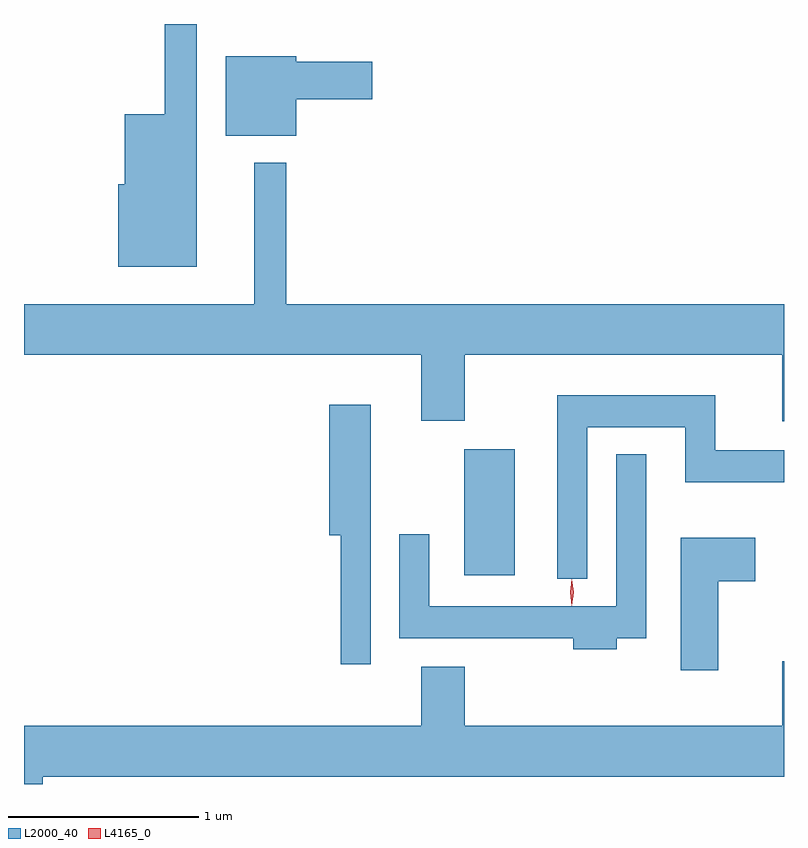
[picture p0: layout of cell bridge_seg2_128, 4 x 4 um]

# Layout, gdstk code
import gdstk
lib = gdstk.Library(unit=1e-6, precision=1e-09)
def R(c, l, rs):  # rectangles x0, y0, x1, y1
    for r in rs: c.add(gdstk.rectangle(r[:2], r[2:], *l))
def P(c, l, *ps):  # polygons
    for p in ps: c.add(gdstk.Polygon(p, *l))
L2000_40 = (2000, 40)
L4165_0 = (4165, 0)

bridge_seg2_128 = lib.new_cell('bridge_seg2_128')
R(bridge_seg2_128, L2000_40, [(979.686,1056.036,979.954,1056.699)])
P(bridge_seg2_128, L2000_40, [(978.279,1058.938),(978.111,1058.938),(978.111,1058.464),(977.901,1058.464),(977.901,1058.094),(977.866,1058.094),(977.866,1057.661),(978.279,1057.661)],
  [(978.804,1058.541),(979.204,1058.541),(979.204,1058.739),(978.804,1058.739),(978.804,1058.769),(978.431,1058.769),(978.431,1058.351),(978.804,1058.351)],
  [(981.37,1057.464),(978.749,1057.464),(978.749,1058.208),(978.581,1058.208),(978.581,1057.464),(977.37,1057.464),(977.37,1057.196),(979.461,1057.196),(979.461,1056.851),(979.689,1056.851),(979.689,1057.196),(981.361,1057.196),(981.361,1056.846),(981.37,1056.846)],
  [(980.334,1056.816),(980.851,1056.816),(980.851,1056.526),(981.37,1056.526),(981.37,1056.694),(981.009,1056.694),(981.009,1056.984),(980.176,1056.984),(980.176,1056.018),(980.334,1056.018)],
  [(979.194,1056.934),(978.976,1056.934),(978.976,1056.246),(979.036,1056.246),(979.036,1055.568),(979.194,1055.568)],
  [(980.489,1055.706),(980.644,1055.706),(980.644,1056.673),(980.486,1056.673),(980.486,1055.874),(979.504,1055.874),(979.504,1056.253),(979.346,1056.253),(979.346,1055.706),(980.261,1055.706),(980.261,1055.646),(980.489,1055.646)],
  [(981.024,1056.006),(981.219,1056.006),(981.219,1056.234),(980.826,1056.234),(980.826,1055.536),(981.024,1055.536)],
  [(977.469,1054.976),(981.37,1054.976),(981.37,1055.584),(981.361,1055.584),(981.361,1055.244),(979.689,1055.244),(979.689,1055.554),(979.461,1055.554),(979.461,1055.244),(977.37,1055.244),(977.37,1054.938),(977.469,1054.938)])
P(bridge_seg2_128, L4165_0, [(980.253,1055.877),(980.244,1055.946),(980.253,1056.016),(980.254,1056.016),(980.254,1056.016),(980.264,1055.946),(980.254,1055.877),(980.254,1055.877)],
  [(980.254,1055.879),(980.253,1055.88),(980.244,1055.946),(980.253,1056.012),(980.254,1056.013),(980.254,1056.012),(980.264,1055.946),(980.254,1055.88)])

lib.write_gds('bridge_seg2_128.gds')
